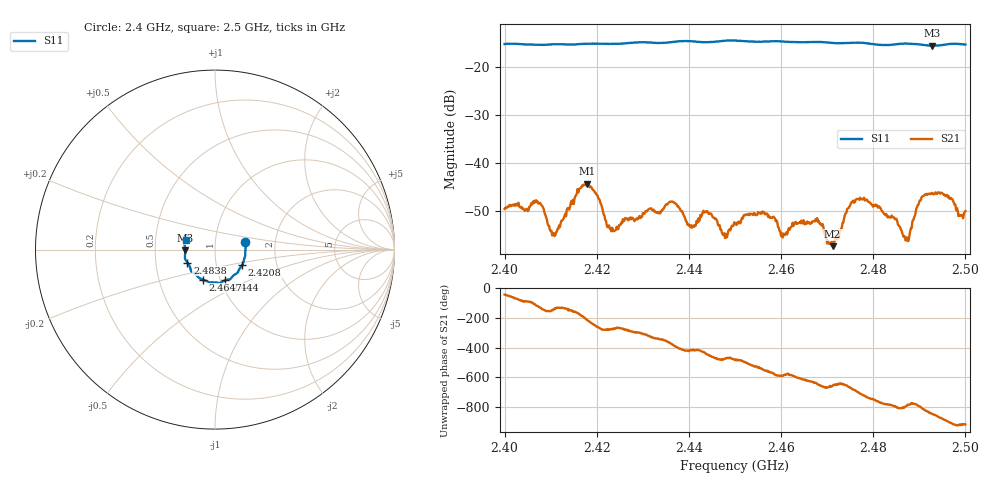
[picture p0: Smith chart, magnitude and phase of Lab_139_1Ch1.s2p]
# Hz S RI R 50
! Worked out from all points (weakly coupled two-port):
!   601 points, 2.4 GHz to 2.5 GHz, reference 50 ohm
!   highest |S21| = -44.26 dB at 2.4178 GHz (marker M1); lowest = -57.3 dB at 2.4712 GHz (marker M2)
!   lowest |S11| = -15.6 dB at 2.4928 GHz (marker M3), VSWR 1.40, Z = 35.8 - j0.356 ohm
!   |S11| at or under -10 dB: start of sweep to end of sweep
!   S12 and S22 are empty: the file has one direction only
!   S11 on the Smith chart (normalised r, x): 2.4 GHz: 1.40, +0.12; 2.4208 GHz: 1.33, -0.24; 2.444 GHz: 1.06, -0.37; 2.4647 GHz: 0.83, -0.29; 2.4838 GHz: 0.73, -0.11; 2.5 GHz: 0.72, +0.08
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2.4e9  0.1674 0.0412  0.00241 -0.00232  0 0  0 0
2.407167e9  0.1694 -0.0108  -0.00205 -0.00342  0 0  0 0
2.410833e9  0.1689 -0.0321  -0.00129 -0.00117  0 0  0 0
2.416667e9  0.159 -0.0682  -0.00554 0.000611  0 0  0 0
2.417833e9  0.1565 -0.0752  -0.00511 0.00337  0 0  0 0
2.420833e9  0.1506 -0.0871  0.000129 0.00379  0 0  0 0
2.423667e9  0.1407 -0.1006  1.12e-05 0.00196  0 0  0 0
2.433333e9  0.1078 -0.1404  0.00281 0.00109  0 0  0 0
2.440667e9  0.079 -0.1664  0.0011 -0.00182  0 0  0 0
2.444e9  0.0581 -0.1708  0.000183 -0.00315  0 0  0 0
2.447833e9  0.0333 -0.184  -0.000645 -0.00153  0 0  0 0
2.45e9  0.0245 -0.1861  -0.00132 -0.00195  0 0  0 0
2.464667e9  -0.0674 -0.167  -0.000695 0.00225  0 0  0 0
2.466667e9  -0.0798 -0.1627  -9.26e-05 0.00238  0 0  0 0
2.471167e9  -0.0975 -0.1478  0.000616 0.00122  0 0  0 0
2.476667e9  -0.1304 -0.1216  0.00397 0.00153  0 0  0 0
2.483333e9  -0.1506 -0.0762  0.00131 -0.00247  0 0  0 0
2.483833e9  -0.1534 -0.072  0.00116 -0.00245  0 0  0 0
2.487333e9  -0.1669 -0.0509  0.000592 -0.00159  0 0  0 0
2.490167e9  -0.1672 -0.0344  0.000977 -0.00398  0 0  0 0
2.492833e9  -0.1659 -0.00484  -0.00281 -0.00401  0 0  0 0
2.5e9  -0.1622 0.0528  -0.00306 0.000851  0 0  0 0
